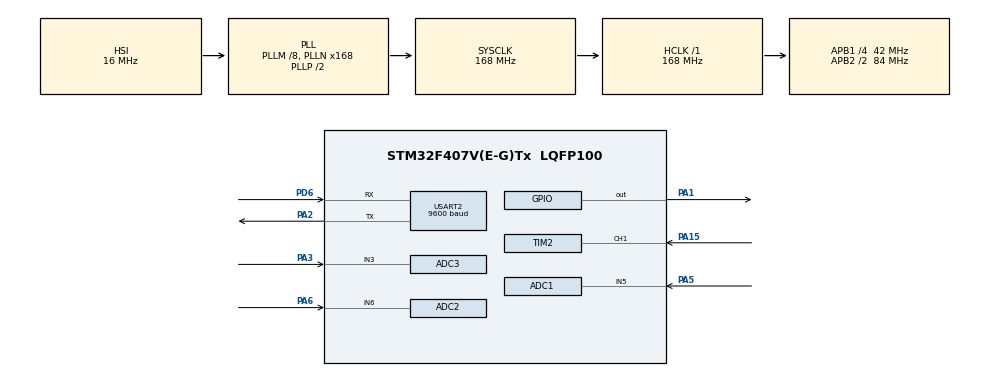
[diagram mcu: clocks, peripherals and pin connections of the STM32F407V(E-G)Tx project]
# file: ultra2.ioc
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ADC1.Channel-0\#ChannelRegularConversion=ADC_CHANNEL_5
ADC1.Channel-2\#ChannelRegularConversion=ADC_CHANNEL_TEMPSENSOR
ADC1.ContinuousConvMode=ENABLE
ADC1.NbrOfConversion=2
ADC1.NbrOfConversionFlag=1
ADC1.Rank-0\#ChannelRegularConversion=1
ADC1.Rank-2\#ChannelRegularConversion=2
ADC1.SamplingTime-0\#ChannelRegularConversion=ADC_SAMPLETIME_3CYCLES
ADC1.SamplingTime-2\#ChannelRegularConversion=ADC_SAMPLETIME_3CYCLES
ADC1.ScanConvMode=ENABLE
ADC1.master=1
ADC2.Channel-0\#ChannelRegularConversion=ADC_CHANNEL_6
ADC2.NbrOfConversionFlag=1
ADC2.Rank-0\#ChannelRegularConversion=1
ADC2.SamplingTime-0\#ChannelRegularConversion=ADC_SAMPLETIME_3CYCLES
ADC3.Channel-1\#ChannelRegularConversion=ADC_CHANNEL_3
ADC3.NbrOfConversionFlag=1
ADC3.Rank-1\#ChannelRegularConversion=1
ADC3.SamplingTime-1\#ChannelRegularConversion=ADC_SAMPLETIME_3CYCLES
Dma.ADC1.0.Direction=DMA_PERIPH_TO_MEMORY
Dma.ADC1.0.FIFOMode=DMA_FIFOMODE_DISABLE
Dma.ADC1.0.Instance=DMA2_Stream0
Dma.ADC1.0.MemDataAlignment=DMA_MDATAALIGN_WORD
Dma.ADC1.0.MemInc=DMA_MINC_ENABLE
Dma.ADC1.0.Mode=DMA_CIRCULAR
Dma.ADC1.0.PeriphDataAlignment=DMA_PDATAALIGN_WORD
Dma.ADC1.0.PeriphInc=DMA_PINC_DISABLE
Dma.ADC1.0.Priority=DMA_PRIORITY_LOW
Dma.Request0=ADC1
FREERTOS.INCLUDE_vTaskDelayUntil=1
FREERTOS.Tasks01=defaultTask,-3,128,StartDefaultTask,Default,NULL,Dynamic,NULL,NULL
FREERTOS.configUSE_NEWLIB_REENTRANT=1
Mcu.Family=STM32F4
Mcu.Name=STM32F407V(E-G)Tx
Mcu.Package=LQFP100
NVIC.ADC_IRQn=true\:5\:0\:false\:false\:true\:true\:true\:true\:true
NVIC.DMA2_Stream0_IRQn=true\:5\:0\:false\:false\:true\:true\:false\:true\:true
NVIC.PriorityGroup=NVIC_PRIORITYGROUP_4
NVIC.TIM1_UP_TIM10_IRQn=true\:15\:0\:false\:false\:true\:false\:false\:true\:true
NVIC.TIM2_IRQn=true\:5\:0\:false\:false\:true\:true\:true\:true\:true
NVIC.TimeBase=TIM1_UP_TIM10_IRQn
NVIC.TimeBaseIP=TIM1
PA1.Signal=GPIO_Output
PA13.Mode=Serial_Wire
PA13.Signal=SYS_JTMS-SWDIO
PA14.Mode=Serial_Wire
PA14.Signal=SYS_JTCK-SWCLK
PA15.Signal=S_TIM2_CH1_ETR
PA2.Mode=Asynchronous
PA2.Signal=USART2_TX
PA3.Signal=ADCx_IN3
PA5.Signal=ADCx_IN5
PA6.Signal=ADCx_IN6
PD6.Mode=Asynchronous
PD6.Signal=USART2_RX
PH0-OSC_IN.Mode=HSE-External-Oscillator
PH0-OSC_IN.Signal=RCC_OSC_IN
PH1-OSC_OUT.Mode=HSE-External-Oscillator
PH1-OSC_OUT.Signal=RCC_OSC_OUT
ProjectManager.HeapSize=0x200
ProjectManager.StackSize=0x400
ProjectManager.TargetToolchain=STM32CubeIDE
RCC.48MHZClocksFreq_Value=48000000
RCC.AHBFreq_Value=168000000
RCC.APB1CLKDivider=RCC_HCLK_DIV4
RCC.APB1Freq_Value=42000000
RCC.APB1TimFreq_Value=84000000
RCC.APB2CLKDivider=RCC_HCLK_DIV2
RCC.APB2Freq_Value=84000000
RCC.APB2TimFreq_Value=168000000
RCC.CortexFreq_Value=168000000
RCC.HCLKFreq_Value=168000000
RCC.HSE_VALUE=8000000
RCC.HSI_VALUE=16000000
RCC.LSE_VALUE=32768
RCC.PLLM=8
RCC.PLLN=168
RCC.PLLQ=7
RCC.SYSCLKFreq_VALUE=168000000
RCC.SYSCLKSource=RCC_SYSCLKSOURCE_PLLCLK
RCC.VCOOutputFreq_Value=336000000
SH.ADCx_IN3.0=ADC3_IN3,IN3
SH.ADCx_IN5.0=ADC1_IN5,IN5
SH.ADCx_IN6.0=ADC2_IN6,IN6
SH.S_TIM2_CH1_ETR.0=TIM2_CH1,Input_Capture1_from_TI1
TIM2.Channel-Input_Capture1_from_TI1=TIM_CHANNEL_1
TIM2.Period=0xffff-1
TIM2.Prescaler=168-1
USART2.BaudRate=9600
USART2.VirtualMode=VM_ASYNC
VP_ADC1_TempSens_Input.Mode=IN-TempSens
VP_FREERTOS_VS_CMSIS_V1.Mode=CMSIS_V1
VP_SYS_VS_tim1.Mode=TIM1
board=STM32F407G-DISC1

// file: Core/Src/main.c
/* USER CODE BEGIN Header */
/**
  ******************************************************************************
  * @file           : main.c
  * @brief          : Main program body
  ******************************************************************************
  * @attention
  *
  * Copyright (c) 2025 STMicroelectronics.
  * All rights reserved.
  *
  * This software is licensed under terms that can be found in the LICENSE file
  * in the root directory of this software component.
  * If no LICENSE file comes with this software, it is provided AS-IS.
  *
  ******************************************************************************
  */
/* USER CODE END Header */
#include "main.h"
#include "cmsis_os.h"

/* USER CODE BEGIN Includes */
#include<stdio.h>
#include<string.h>
#define TRIG_PIN GPIO_PIN_1
#define TRIG_PORT GPIOA
uint32_t IC_Val1 = 0;
uint32_t IC_Val2 = 0;
uint32_t Difference = 0;
uint8_t Is_First_Captured = 0;  // is the first value captured ?
uint8_t Distance  = 0;
uint16_t temp=0;
uint16_t ldr=0;
uint16_t Values[2];
char msg[32];

uint16_t ADC_VAL[2];
uint16_t var=0;
float val=0.0;
#define Avg_Slope .0025
#define V25 0.76
float Temp = 0.0;
/* USER CODE END Includes */

ADC_HandleTypeDef hadc1;
ADC_HandleTypeDef hadc2;
ADC_HandleTypeDef hadc3;
DMA_HandleTypeDef hdma_adc1;

TIM_HandleTypeDef htim2;

UART_HandleTypeDef huart2;
xQueueHandle xQueue;
osThreadId defaultTaskHandle;

void SystemClock_Config(void);
static void MX_GPIO_Init(void);
static void MX_DMA_Init(void);
static void MX_TIM2_Init(void);
static void MX_USART2_UART_Init(void);
static void MX_ADC1_Init(void);
static void MX_ADC2_Init(void);
static void MX_ADC3_Init(void);
void StartDefaultTask(void const * argument);

/* USER CODE BEGIN PFP */
uint16_t ConvComplete =0;
void HAL_ADC_ConvCpltCallback(ADC_HandleTypeDef *hadc)
{
  ConvComplete =1;
}
/* USER CODE END PFP */

/* USER CODE BEGIN 0 */
void delay(uint16_t time){
	__HAL_TIM_SET_COUNTER(&htim2,0);
	while(__HAL_TIM_GET_COUNTER(&htim2) < time);

}
void HAL_TIM_IC_CaptureCallback(TIM_HandleTypeDef *htim){
    if(htim->Channel == HAL_TIM_ACTIVE_CHANNEL_1){
        if(Is_First_Captured == 0){
            IC_Val1 = HAL_TIM_ReadCapturedValue(htim, TIM_CHANNEL_1);
            Is_First_Captured = 1;
            __HAL_TIM_SET_CAPTUREPOLARITY(htim, TIM_CHANNEL_1, TIM_INPUTCHANNELPOLARITY_FALLING);
            // Debug print to check first capture
            HAL_UART_Transmit(&huart2, (uint8_t*)"First capture\r\n", strlen("First capture\r\n"), HAL_MAX_DELAY);
        }
        else if(Is_First_Captured == 1){
            IC_Val2 = HAL_TIM_ReadCapturedValue(htim, TIM_CHANNEL_1);
            __HAL_TIM_SET_COUNTER(htim, 0);

            if (IC_Val2 > IC_Val1) {
                Difference = IC_Val2 - IC_Val1;
            } else if (IC_Val1 > IC_Val2) {
                Difference = (0xffff - IC_Val1) + IC_Val2;
            }

            Distance = Difference * .034 / 2;
            Is_First_Captured = 0; // set it back to false

            // set polarity to rising edge
            __HAL_TIM_SET_CAPTUREPOLARITY(htim, TIM_CHANNEL_1, TIM_INPUTCHANNELPOLARITY_RISING);
            __HAL_TIM_DISABLE_IT(&htim2, TIM_IT_CC1);

            // Debug print to check second capture and calculated distance
            char msg[32];
            sprintf(msg, "Distance: %u\r\n", Distance);
            HAL_UART_Transmit(&huart2, (uint8_t*)msg, strlen(msg), HAL_MAX_DELAY);
        }
    }
}

void HCSR04_Read(void){
	HAL_GPIO_WritePin(TRIG_PORT, TRIG_PIN, GPIO_PIN_SET);
	delay(10);
	HAL_GPIO_WritePin(TRIG_PORT, TRIG_PIN, GPIO_PIN_RESET);
	__HAL_TIM_ENABLE_IT(&htim2,TIM_IT_CC1);

}
void ADC_CH1(void){

	ADC_ChannelConfTypeDef sConfig = {0};
	sConfig.Channel = ADC_CHANNEL_1;
	  sConfig.Rank = 1;
	  if (HAL_ADC_ConfigChannel(&hadc1, &sConfig) != HAL_OK)
	  {
	    Error_Handler();
	  }
}
void TEMP_CH2(void){
	ADC_ChannelConfTypeDef sConfig = {0};
	sConfig.Channel = ADC_CHANNEL_TEMPSENSOR;
	  sConfig.Rank = 1;
	  if (HAL_ADC_ConfigChannel(&hadc1, &sConfig) != HAL_OK)
	  {
	    Error_Handler();
	  }
}
void xultra(void *pvParam){
	char msg[32];
	//int Distance=0;
	portTickType xLastTime = xTaskGetTickCount();
	while(1){
		sprintf(msg,"Water level %u\n ",Distance);
		HCSR04_Read();
		//HAL_UART_Transmit(&huart2,(uint8_t*)msg ,strlen(msg) ,HAL_MAX_DELAY);
		xQueueSendToBack(xQueue,&msg,portMAX_DELAY);
		vTaskDelayUntil(&xLastTime, 5000/portTICK_RATE_MS);
	}
	vTaskDelete(NULL);
}
void vADCLM35(void *pvParam)
{
	char msg[28];
	portTickType xLastTime = xTaskGetTickCount();
	while(1){
		HAL_ADC_Start(&hadc2);
		HAL_ADC_PollForConversion(&hadc2, HAL_MAX_DELAY);
		uint32_t value = HAL_ADC_GetValue(&hadc2);
		HAL_ADC_Stop(&hadc2);

		sprintf(msg, "ADC LM35 value : %ld \n", value);
	//	HAL_UART_Transmit(&huart2, (uint8_t *)msg, strlen(msg), HAL_MAX_DELAY);
		//sprintf(msg,"Water level %u\r\n ",Distance);
		xQueueSendToBack(xQueue,&msg,portMAX_DELAY);
		vTaskDelayUntil(&xLastTime, 5000 / portTICK_RATE_MS);
	}
	vTaskDelete(NULL);
}
void xADCMQ2(void *pvParam)
{
	char msg[28];
	//char ultra[32];
	portTickType xLastTime = xTaskGetTickCount();
	while(1){
		HAL_ADC_Start(&hadc3);
		HAL_ADC_PollForConversion(&hadc3, HAL_MAX_DELAY);
		uint32_t value = HAL_ADC_GetValue(&hadc3);
		HAL_ADC_Stop(&hadc3);

		sprintf(msg, "ADC MQ2 value : %ld \n", value);
		//sprintf(ultra,"Water level %u\r\n ",Distance);
		//HAL_UART_Transmit(&huart2, (uint8_t *)msg, strlen(msg), HAL_MAX_DELAY);
		xQueueSendToBack(xQueue,&msg,portMAX_DELAY);
		//HAL_UART_Transmit(&huart2, (uint8_t*)ultra, strlen(ultra), HAL_MAX_DELAY);
		vTaskDelayUntil(&xLastTime, 5000 / portTICK_RATE_MS);
	}
	vTaskDelete(NULL);
}
void vADCTEMP_LDR(void* pvParam){
	portTickType xLastTime = xTaskGetTickCount();
	while(1){
		var = val*4096/3.3;
		val+=0.1;
		if(val>=3.3)
		val=0;
		ADC_CH1();
		HAL_ADC_Start(&hadc1);
		HAL_ADC_PollForConversion(&hadc1,1000);
		ADC_VAL[0]=HAL_ADC_GetValue(&hadc1);
		HAL_ADC_Stop(&hadc1);
		sprintf(msg, "LDR: %d\n",ADC_VAL[0]);
		//HAL_UART_Transmit(&huart2, (uint8_t*)msg, strlen(msg), HAL_MAX_DELAY);
		char copymsg[32];
		strcpy(copymsg,msg);
		xQueueSendToBack(xQueue,&copymsg,portMAX_DELAY);

		TEMP_CH2();
	    HAL_ADC_Start(&hadc1);
        HAL_ADC_PollForConversion(&hadc1,1000);
	    ADC_VAL[2]=HAL_ADC_GetValue(&hadc1);
	    HAL_ADC_Stop(&hadc1);
		Temp =((3.3 * ADC_VAL[2]/4096 - V25)/Avg_Slope)+25;

		sprintf(msg,"Temparature: %d\r\n",(int)Temp);
		//HAL_UART_Transmit(&huart2, (uint8_t*)msg, strlen(msg), HAL_MAX_DELAY);
		char copy_msg[32];
		strcpy(copy_msg, msg);
		xQueueSendToBack(xQueue,&copy_msg,portMAX_DELAY);

		vTaskDelayUntil(&xLastTime, 5000 / portTICK_RATE_MS);

	}
	vTaskDelete(NULL);
}
void vADCRecievingTask(void *pvParam)
{
	char value[32];
	char msg[42];
	portTickType xLastTime = xTaskGetTickCount();
	while(1){
		for(int i=0;i<5;i++){
			xQueueReceive(xQueue, &value, portMAX_DELAY);

		sprintf(msg, "value : %s \r\n", value);
		HAL_UART_Transmit(&huart2, (uint8_t *)msg, strlen(msg), HAL_MAX_DELAY);
		}
		vTaskDelayUntil(&xLastTime, 5000 / portTICK_RATE_MS);
	}
	vTaskDelete(NULL);
}
/* USER CODE END 0 */

int main(void)
{

  /* USER CODE BEGIN 1 */
	//char msg[32];
  /* USER CODE END 1 */

  /* MCU Configuration--------------------------------------------------------*/

  /* Reset of all peripherals, Initializes the Flash interface and the Systick. */
  HAL_Init();

  /* Configure the system clock */
  SystemClock_Config();

  /* Initialize all configured peripherals */
  MX_GPIO_Init();
  MX_DMA_Init();
  MX_TIM2_Init();
  MX_USART2_UART_Init();
  MX_ADC1_Init();
  MX_ADC2_Init();
  MX_ADC3_Init();
  /* USER CODE BEGIN 2 */
  HAL_TIM_IC_Start_IT(&htim2, TIM_CHANNEL_1);
 // HAL_ADC_Start_DMA(&hadc1, (uint32_t*)Values, 2);
  /* USER CODE END 2 */

  /* USER CODE BEGIN RTOS_SEMAPHORES */
  xTaskCreate(xultra, "shashi",256 , NULL, 3, NULL);
  xTaskCreate(vADCLM35, "ADC-LDR", 256, NULL, 3, NULL);
  xTaskCreate(xADCMQ2,"ADC_LM35",256,NULL,3,NULL);
  xTaskCreate(vADCTEMP_LDR,"ADC_LDR_TEMP", 256,NULL, 3,NULL);
  xTaskCreate(vADCRecievingTask,"ADC_Queue",256,NULL,6,NULL);
  /* USER CODE END RTOS_SEMAPHORES */

  /* USER CODE BEGIN RTOS_QUEUES */
  xQueue = xQueueCreate(32,sizeof(char[32]));
  /* USER CODE END RTOS_QUEUES */

  /* Create the thread(s) */
  /* definition and creation of defaultTask */
  osThreadDef(defaultTask, StartDefaultTask, osPriorityIdle, 0, 128);
  defaultTaskHandle = osThreadCreate(osThread(defaultTask), NULL);

  /* Start scheduler */
  osKernelStart();

  /* We should never get here as control is now taken by the scheduler */

  /* Infinite loop */
  while (1)
  {

  }
}

void SystemClock_Config(void)
{
  RCC_OscInitTypeDef RCC_OscInitStruct = {0};
  RCC_ClkInitTypeDef RCC_ClkInitStruct = {0};

  /** Configure the main internal regulator output voltage
  */
  __HAL_RCC_PWR_CLK_ENABLE();
  __HAL_PWR_VOLTAGESCALING_CONFIG(PWR_REGULATOR_VOLTAGE_SCALE1);

  /** Initializes the RCC Oscillators according to the specified parameters
  * in the RCC_OscInitTypeDef structure.
  */
  RCC_OscInitStruct.OscillatorType = RCC_OSCILLATORTYPE_HSI;
  RCC_OscInitStruct.HSIState = RCC_HSI_ON;
  RCC_OscInitStruct.HSICalibrationValue = RCC_HSICALIBRATION_DEFAULT;
  RCC_OscInitStruct.PLL.PLLState = RCC_PLL_ON;
  RCC_OscInitStruct.PLL.PLLSource = RCC_PLLSOURCE_HSI;
  RCC_OscInitStruct.PLL.PLLM = 8;
  RCC_OscInitStruct.PLL.PLLN = 168;
  RCC_OscInitStruct.PLL.PLLP = RCC_PLLP_DIV2;
  RCC_OscInitStruct.PLL.PLLQ = 7;
  if (HAL_RCC_OscConfig(&RCC_OscInitStruct) != HAL_OK)
  {
    Error_Handler();
  }

  /** Initializes the CPU, AHB and APB buses clocks
  */
  RCC_ClkInitStruct.ClockType = RCC_CLOCKTYPE_HCLK|RCC_CLOCKTYPE_SYSCLK
                              |RCC_CLOCKTYPE_PCLK1|RCC_CLOCKTYPE_PCLK2;
  RCC_ClkInitStruct.SYSCLKSource = RCC_SYSCLKSOURCE_PLLCLK;
  RCC_ClkInitStruct.AHBCLKDivider = RCC_SYSCLK_DIV1;
  RCC_ClkInitStruct.APB1CLKDivider = RCC_HCLK_DIV4;
  RCC_ClkInitStruct.APB2CLKDivider = RCC_HCLK_DIV2;

  if (HAL_RCC_ClockConfig(&RCC_ClkInitStruct, FLASH_LATENCY_5) != HAL_OK)
  {
    Error_Handler();
  }
}

static void MX_ADC1_Init(void)
{

  ADC_ChannelConfTypeDef sConfig = {0};

  /** Configure the global features of the ADC (Clock, Resolution, Data Alignment and number of conversion)
  */
  hadc1.Instance = ADC1;
  hadc1.Init.ClockPrescaler = ADC_CLOCK_SYNC_PCLK_DIV4;
  hadc1.Init.Resolution = ADC_RESOLUTION_12B;
  hadc1.Init.ScanConvMode = ENABLE;
  hadc1.Init.ContinuousConvMode = ENABLE;
  hadc1.Init.DiscontinuousConvMode = DISABLE;
  hadc1.Init.ExternalTrigConvEdge = ADC_EXTERNALTRIGCONVEDGE_NONE;
  hadc1.Init.ExternalTrigConv = ADC_SOFTWARE_START;
  hadc1.Init.DataAlign = ADC_DATAALIGN_RIGHT;
  hadc1.Init.NbrOfConversion = 2;
  hadc1.Init.DMAContinuousRequests = DISABLE;
  hadc1.Init.EOCSelection = ADC_EOC_SINGLE_CONV;
  if (HAL_ADC_Init(&hadc1) != HAL_OK)
  {
    Error_Handler();
  }

  /** Configure for the selected ADC regular channel its corresponding rank in the sequencer and its sample time.
  */
  sConfig.Channel = ADC_CHANNEL_5;
  sConfig.Rank = 1;
  sConfig.SamplingTime = ADC_SAMPLETIME_3CYCLES;
  if (HAL_ADC_ConfigChannel(&hadc1, &sConfig) != HAL_OK)
  {
    Error_Handler();
  }

  /** Configure for the selected ADC regular channel its corresponding rank in the sequencer and its sample time.
  */
  sConfig.Channel = ADC_CHANNEL_TEMPSENSOR;
  sConfig.Rank = 2;
  if (HAL_ADC_ConfigChannel(&hadc1, &sConfig) != HAL_OK)
  {
    Error_Handler();
  }

}

static void MX_ADC2_Init(void)
{

  ADC_ChannelConfTypeDef sConfig = {0};

  /** Configure the global features of the ADC (Clock, Resolution, Data Alignment and number of conversion)
  */
  hadc2.Instance = ADC2;
  hadc2.Init.ClockPrescaler = ADC_CLOCK_SYNC_PCLK_DIV4;
  hadc2.Init.Resolution = ADC_RESOLUTION_12B;
  hadc2.Init.ScanConvMode = DISABLE;
  hadc2.Init.ContinuousConvMode = DISABLE;
  hadc2.Init.DiscontinuousConvMode = DISABLE;
  hadc2.Init.ExternalTrigConvEdge = ADC_EXTERNALTRIGCONVEDGE_NONE;
  hadc2.Init.ExternalTrigConv = ADC_SOFTWARE_START;
  hadc2.Init.DataAlign = ADC_DATAALIGN_RIGHT;
  hadc2.Init.NbrOfConversion = 1;
  hadc2.Init.DMAContinuousRequests = DISABLE;
  hadc2.Init.EOCSelection = ADC_EOC_SINGLE_CONV;
  if (HAL_ADC_Init(&hadc2) != HAL_OK)
  {
    Error_Handler();
  }

  /** Configure for the selected ADC regular channel its corresponding rank in the sequencer and its sample time.
  */
  sConfig.Channel = ADC_CHANNEL_6;
  sConfig.Rank = 1;
  sConfig.SamplingTime = ADC_SAMPLETIME_3CYCLES;
  if (HAL_ADC_ConfigChannel(&hadc2, &sConfig) != HAL_OK)
  {
    Error_Handler();
  }

}

static void MX_ADC3_Init(void)
{

  ADC_ChannelConfTypeDef sConfig = {0};

  /** Configure the global features of the ADC (Clock, Resolution, Data Alignment and number of conversion)
  */
  hadc3.Instance = ADC3;
  hadc3.Init.ClockPrescaler = ADC_CLOCK_SYNC_PCLK_DIV4;
  hadc3.Init.Resolution = ADC_RESOLUTION_12B;
  hadc3.Init.ScanConvMode = DISABLE;
  hadc3.Init.ContinuousConvMode = DISABLE;
  hadc3.Init.DiscontinuousConvMode = DISABLE;
  hadc3.Init.ExternalTrigConvEdge = ADC_EXTERNALTRIGCONVEDGE_NONE;
  hadc3.Init.ExternalTrigConv = ADC_SOFTWARE_START;
  hadc3.Init.DataAlign = ADC_DATAALIGN_RIGHT;
  hadc3.Init.NbrOfConversion = 1;
  hadc3.Init.DMAContinuousRequests = DISABLE;
  hadc3.Init.EOCSelection = ADC_EOC_SINGLE_CONV;
  if (HAL_ADC_Init(&hadc3) != HAL_OK)
  {
    Error_Handler();
  }

  /** Configure for the selected ADC regular channel its corresponding rank in the sequencer and its sample time.
  */
  sConfig.Channel = ADC_CHANNEL_3;
  sConfig.Rank = 1;
  sConfig.SamplingTime = ADC_SAMPLETIME_3CYCLES;
  if (HAL_ADC_ConfigChannel(&hadc3, &sConfig) != HAL_OK)
  {
    Error_Handler();
  }

}

static void MX_TIM2_Init(void)
{

  TIM_MasterConfigTypeDef sMasterConfig = {0};
  TIM_IC_InitTypeDef sConfigIC = {0};

  htim2.Instance = TIM2;
  htim2.Init.Prescaler = 168-1;
  htim2.Init.CounterMode = TIM_COUNTERMODE_UP;
  htim2.Init.Period = 0xffff-1;
  htim2.Init.ClockDivision = TIM_CLOCKDIVISION_DIV1;
  htim2.Init.AutoReloadPreload = TIM_AUTORELOAD_PRELOAD_DISABLE;
  if (HAL_TIM_IC_Init(&htim2) != HAL_OK)
  {
    Error_Handler();
  }
  sMasterConfig.MasterOutputTrigger = TIM_TRGO_RESET;
  sMasterConfig.MasterSlaveMode = TIM_MASTERSLAVEMODE_DISABLE;
  if (HAL_TIMEx_MasterConfigSynchronization(&htim2, &sMasterConfig) != HAL_OK)
  {
    Error_Handler();
  }
  sConfigIC.ICPolarity = TIM_INPUTCHANNELPOLARITY_RISING;
  sConfigIC.ICSelection = TIM_ICSELECTION_DIRECTTI;
  sConfigIC.ICPrescaler = TIM_ICPSC_DIV1;
  sConfigIC.ICFilter = 0;
  if (HAL_TIM_IC_ConfigChannel(&htim2, &sConfigIC, TIM_CHANNEL_1) != HAL_OK)
  {
    Error_Handler();
  }

}

static void MX_USART2_UART_Init(void)
{

  huart2.Instance = USART2;
  huart2.Init.BaudRate = 9600;
  huart2.Init.WordLength = UART_WORDLENGTH_8B;
  huart2.Init.StopBits = UART_STOPBITS_1;
  huart2.Init.Parity = UART_PARITY_NONE;
  huart2.Init.Mode = UART_MODE_TX_RX;
  huart2.Init.HwFlowCtl = UART_HWCONTROL_NONE;
  huart2.Init.OverSampling = UART_OVERSAMPLING_16;
  if (HAL_UART_Init(&huart2) != HAL_OK)
  {
    Error_Handler();
  }

}

static void MX_DMA_Init(void)
{

  /* DMA controller clock enable */
  __HAL_RCC_DMA2_CLK_ENABLE();

  /* DMA interrupt init */
  /* DMA2_Stream0_IRQn interrupt configuration */
  HAL_NVIC_SetPriority(DMA2_Stream0_IRQn, 5, 0);
  HAL_NVIC_EnableIRQ(DMA2_Stream0_IRQn);

}

static void MX_GPIO_Init(void)
{
  GPIO_InitTypeDef GPIO_InitStruct = {0};

  /* GPIO Ports Clock Enable */
  __HAL_RCC_GPIOH_CLK_ENABLE();
  __HAL_RCC_GPIOA_CLK_ENABLE();
  __HAL_RCC_GPIOD_CLK_ENABLE();

  /*Configure GPIO pin Output Level */
  HAL_GPIO_WritePin(GPIOA, GPIO_PIN_1, GPIO_PIN_RESET);

  /*Configure GPIO pin : PA1 */
  GPIO_InitStruct.Pin = GPIO_PIN_1;
  GPIO_InitStruct.Mode = GPIO_MODE_OUTPUT_PP;
  GPIO_InitStruct.Pull = GPIO_NOPULL;
  GPIO_InitStruct.Speed = GPIO_SPEED_FREQ_LOW;
  HAL_GPIO_Init(GPIOA, &GPIO_InitStruct);

}

void StartDefaultTask(void const * argument)
{
  for(;;)
  {
    osDelay(1);
  }
}

void HAL_TIM_PeriodElapsedCallback(TIM_HandleTypeDef *htim)
{
  if (htim->Instance == TIM1) {
    HAL_IncTick();
  }
}

void Error_Handler(void)
{
  __disable_irq();
  while (1)
  {
  }
}
